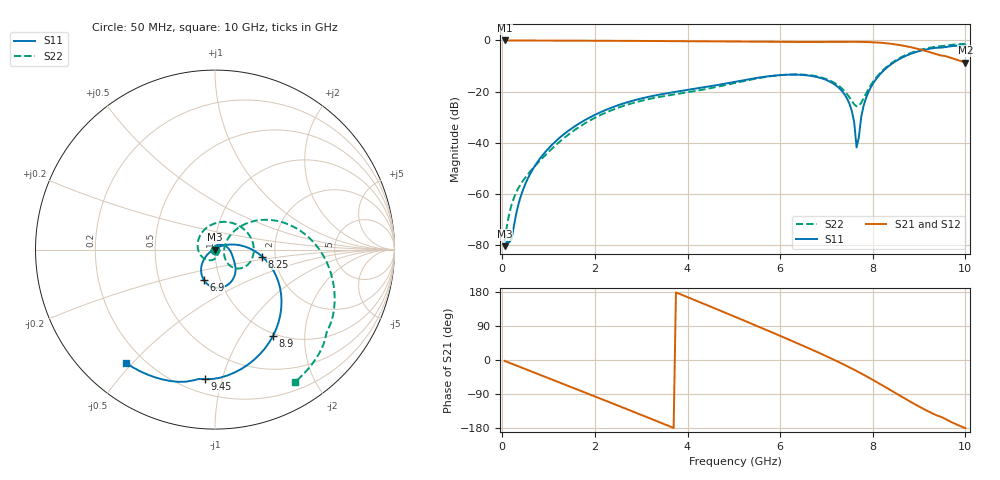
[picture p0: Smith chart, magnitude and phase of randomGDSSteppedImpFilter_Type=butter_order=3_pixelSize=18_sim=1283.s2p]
! freq	dB(S11)	phase(S11)	dB(S12)	phase(S12)
!  dB(S21)	phase(S21)	dB(S22)	phase(S22)
!S-par simulation data
#  GHz  S  DB  R 50
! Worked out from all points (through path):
!   200 points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, 50 MHz to 10 GHz, reference 50 ohm
!   highest |S21| = 0.00 dB at 50 MHz (marker M1); lowest = -8.6 dB at 10 GHz (marker M2)
!   group delay of S21, straight-line fit = 149 ps
!   lowest |S11| = -80.5 dB at 50 MHz (marker M3), VSWR 1.00, Z = 50 + j0.00291 ohm
!   |S11| at or under -10 dB: start of sweep to 8.347 GHz
!   |S22| runs from -78.6 to -1.3 dB; largest |S21 - S12| = 0
!   S11 on the Smith chart (normalised r, x): 50 MHz: 1.00, +0.00; 6.9 GHz: 0.84, -0.29; 8.25 GHz: 1.71, -0.14; 8.9 GHz: 0.96, -1.39; 9.45 GHz: 0.29, -0.88; 10 GHz: 0.13, -0.48
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0.05  -80.54 18.1  -0.00 -2.5  -0.00 -2.5  -78.62 5.7
0.2  -77.68 -81.6  -0.02 -9.7  -0.02 -9.7  -64.34 -22.2
0.45  -58.35 178.2  -0.03 -21.6  -0.03 -21.6  -54.84 -37.7
0.95  -43.22 123.5  -0.05 -45.6  -0.05 -45.6  -44.51 -35.6
1.75  -31.54 67.3  -0.10 -84.1  -0.10 -84.1  -32.84 -52.3
2.5  -25.37 28.0  -0.15 -120.4  -0.15 -120.4  -26.35 -86.4
3.4  -21.18 -6.8  -0.23 -164.4  -0.23 -164.4  -22.10 -141.0
4.2  -18.82 -26.6  -0.32 155.9  -0.32 155.9  -19.68 157.5
5.05  -16.08 -43.2  -0.43 112.8  -0.43 112.8  -16.54 87.1
5.85  -13.81 -66.0  -0.56 71.6  -0.56 71.6  -13.89 29.4
6.7  -13.98 -100.4  -0.61 26.5  -0.61 26.5  -13.76 -21.6
6.9  -14.85 -109.9  -0.60 15.5  -0.60 15.5  -14.54 -32.0
7.45  -22.92 -141.1  -0.54 -16.5  -0.54 -16.5  -21.13 -45.6
7.6  -32.22 -157.1  -0.54 -25.9  -0.54 -25.9  -25.03 -25.6
7.65  -41.90 174.1  -0.55 -29.1  -0.55 -29.1  -25.84 -10.4
7.75  -30.01 32.8  -0.57 -35.5  -0.57 -35.5  -24.42 22.5
7.85  -22.77 21.7  -0.61 -42.2  -0.61 -42.2  -20.92 39.1
8.25  -11.52 -8.4  -1.02 -70.0  -1.02 -70.0  -11.14 35.5
8.35  -9.96 -15.7  -1.21 -77.2  -1.21 -77.2  -9.61 30.2
8.9  -4.73 -56.2  -2.98 -116.1  -2.98 -116.1  -4.38 -3.1
9.45  -2.81 -94.4  -5.81 -149.3  -5.81 -149.3  -2.28 -34.5
10  -1.91 -128.1  -8.65 -180.0  -8.65 -180.0  -1.30 -58.8
